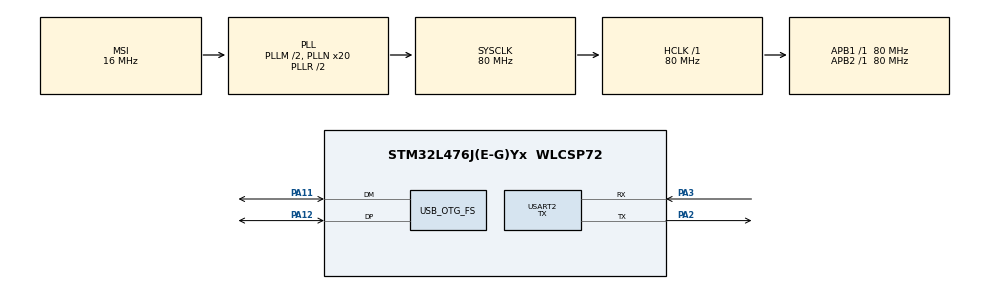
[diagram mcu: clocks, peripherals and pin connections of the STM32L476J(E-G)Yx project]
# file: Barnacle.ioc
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Mcu.Family=STM32L4
Mcu.Name=STM32L476J(E-G)Yx
Mcu.Package=WLCSP72
NVIC.OTG_FS_IRQn=true\:0\:0\:false\:false\:true\:true
NVIC.PriorityGroup=NVIC_PRIORITYGROUP_4
PA11.Mode=Device_Only
PA11.Signal=USB_OTG_FS_DM
PA12.Mode=Device_Only
PA12.Signal=USB_OTG_FS_DP
PA13.Mode=Trace_Asynchronous_SW
PA13.Signal=SYS_JTMS-SWDIO
PA14.Mode=Trace_Asynchronous_SW
PA14.Signal=SYS_JTCK-SWCLK
PA2.Mode=Asynchronous
PA2.Signal=USART2_TX
PA3.Mode=Asynchronous
PA3.Signal=USART2_RX
PB3.Mode=Trace_Asynchronous_SW
PB3.Signal=SYS_JTDO-SWO
ProjectManager.HeapSize=0x1000
ProjectManager.StackSize=0x1000
ProjectManager.TargetToolchain=TrueSTUDIO
RCC.ADCFreq_Value=48000000
RCC.AHBFreq_Value=80000000
RCC.APB1Freq_Value=80000000
RCC.APB1TimFreq_Value=80000000
RCC.APB2Freq_Value=80000000
RCC.APB2TimFreq_Value=80000000
RCC.CortexFreq_Value=80000000
RCC.HCLKFreq_Value=80000000
RCC.HSE_VALUE=8000000
RCC.HSI_VALUE=16000000
RCC.LSE_VALUE=32768
RCC.MSIClockRange=RCC_MSIRANGE_8
RCC.MSI_VALUE=16000000
RCC.PLLM=2
RCC.PLLN=20
RCC.PLLSAI1N=12
RCC.SYSCLKFreq_VALUE=80000000
RCC.SYSCLKSource=RCC_SYSCLKSOURCE_PLLCLK
RCC.USBFreq_Value=48000000
RCC.VCOOutputFreq_Value=160000000
USART2.Mode=MODE_TX
USART2.VirtualMode-Asynchronous=VM_ASYNC
USART2.WordLength=UART_WORDLENGTH_8B
USB_DEVICE.CLASS_NAME_FS=DFU
USB_DEVICE.VirtualModeFS=Dfu_FS
USB_OTG_FS.VirtualMode=Device_Only
USB_OTG_FS.vbus_sensing_enable=DISABLE
VP_RNG_VS_RNG.Mode=RNG_Activate
VP_USB_DEVICE_VS_USB_DEVICE_DFU_FS.Mode=DFU_FS
board=Barnacle

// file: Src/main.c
/**
  ******************************************************************************
  * File Name          : main.c
  * Description        : Main program body
  ******************************************************************************
  *
  * Copyright (c) 2017 STMicroelectronics International N.V.
  * All rights reserved.
  *
  * Redistribution and use in source and binary forms, with or without
  * modification, are permitted, provided that the following conditions are met:
  *
  * 1. Redistribution of source code must retain the above copyright notice,
  *    this list of conditions and the following disclaimer.
  * 2. Redistributions in binary form must reproduce the above copyright notice,
  *    this list of conditions and the following disclaimer in the documentation
  *    and/or other materials provided with the distribution.
  * 3. Neither the name of STMicroelectronics nor the names of other
  *    contributors to this software may be used to endorse or promote products
  *    derived from this software without specific written permission.
  * 4. This software, including modifications and/or derivative works of this
  *    software, must execute solely and exclusively on microcontroller or
  *    microprocessor devices manufactured by or for STMicroelectronics.
  * 5. Redistribution and use of this software other than as permitted under
  *    this license is void and will automatically terminate your rights under
  *    this license.
  *
  * THIS SOFTWARE IS PROVIDED BY STMICROELECTRONICS AND CONTRIBUTORS "AS IS"
  * AND ANY EXPRESS, IMPLIED OR STATUTORY WARRANTIES, INCLUDING, BUT NOT
  * LIMITED TO, THE IMPLIED WARRANTIES OF MERCHANTABILITY, FITNESS FOR A
  * PARTICULAR PURPOSE AND NON-INFRINGEMENT OF THIRD PARTY INTELLECTUAL PROPERTY
  * RIGHTS ARE DISCLAIMED TO THE FULLEST EXTENT PERMITTED BY LAW. IN NO EVENT
  * SHALL STMICROELECTRONICS OR CONTRIBUTORS BE LIABLE FOR ANY DIRECT, INDIRECT,
  * INCIDENTAL, SPECIAL, EXEMPLARY, OR CONSEQUENTIAL DAMAGES (INCLUDING, BUT NOT
  * LIMITED TO, PROCUREMENT OF SUBSTITUTE GOODS OR SERVICES; LOSS OF USE, DATA,
  * OR PROFITS; OR BUSINESS INTERRUPTION) HOWEVER CAUSED AND ON ANY THEORY OF
  * LIABILITY, WHETHER IN CONTRACT, STRICT LIABILITY, OR TORT (INCLUDING
  * NEGLIGENCE OR OTHERWISE) ARISING IN ANY WAY OUT OF THE USE OF THIS SOFTWARE,
  * EVEN IF ADVISED OF THE POSSIBILITY OF SUCH DAMAGE.
  *
  ******************************************************************************
  */
#include "main.h"
#include "stm32l4xx_hal.h"
#include "usb_device.h"

/* USER CODE BEGIN Includes */
#include "usbd_dfu_if.h"
#include <cyrep/RiotTarget.h>
#include <cyrep/RiotStatus.h>
#include <cyrep/RiotSha256.h>
#include <cyrep/RiotEcc.h>
#include <cyrep/RiotDerEnc.h>
#include <cyrep/RiotX509Bldr.h>
#include <cyrep/RiotCrypt.h>
#include <BarnacleTA.h>
#include <Barnacle.h>

/* USER CODE END Includes */

RNG_HandleTypeDef hrng;

UART_HandleTypeDef huart2;

/* USER CODE BEGIN PV */
/* Private variables ---------------------------------------------------------*/
volatile unsigned char DFU_UsrStrDescr_requested = 0;
/* USER CODE END PV */

void SystemClock_Config(void);
void Error_Handler(void);
static void MX_GPIO_Init(void);
static void MX_RNG_Init(void);
#ifdef SERIALDEBUGPRINT
static void MX_USART2_UART_Init(void);
#endif

/* USER CODE BEGIN PFP */
/* Private function prototypes -----------------------------------------------*/
extern USBD_DFU_MediaTypeDef USBD_DFU_fops_FS;
/* USER CODE END PFP */

int ldr_main(void)
{

  /* MCU Configuration----------------------------------------------------------*/

  /* Reset of all peripherals, Initializes the Flash interface and the Systick. */
  HAL_Init();

  /* Configure the system clock */
  SystemClock_Config();

  /* Initialize all configured peripherals */
  MX_GPIO_Init();
  MX_USB_DEVICE_Init();
  MX_RNG_Init();
#ifdef SERIALDEBUGPRINT
  MX_USART2_UART_Init();
#endif

  /* USER CODE BEGIN 2 */
  dbgPrint("\r\n\r\n"
           "================\r\n"
           "Barnacle BootLdr\r\n"
           "================\r\n");

  // If we got here because of a firewall violation tell the world
  if(BarnacleFWViolation())
  {
      dbgPrint("WARNING: Firewall violation detected.\r\n");
  }

  if(!BarnacleWriteLockLoader())
  {
      dbgPrint("PANIC: Write protection for BootLdr failed.\r\n");
      Error_Handler();
  }

  // Provision the device if this is the first launch
  if(!BarnacleInitialProvision())
  {
      dbgPrint("PANIC: Device Provisioning failed.\r\n");
      Error_Handler();
  }

  // Briefly wait to see if DFU connects before we continue
  HAL_Delay(500);
  if(AgentHdr.s.sign.hdr.magic != BARNACLEMAGIC)
  {
      dbgPrint("INFO: Waiting for DFU connection.\r\n");
      Error_Handler();
  }
  else if(DFU_UsrStrDescr_requested)
  {
      dbgPrint("INFO: DFU connected.\r\n");
      Error_Handler();
  }
  else
  {
      dbgPrint("INFO: DFU closed.\r\n");
      MX_USB_DEVICE_DeInit();
  }

  // Now that the door is firmly closed let's take a look at the agent
  if(!BarnacleVerifyAgent())
  {
      // We didn't like that agent for some reason. We will wipe the Agent space
      dbgPrint("INFO: Wiping agent header.\r\n");
      BarnacleErasePages((void*)&AgentHdr, sizeof(AgentHdr));

      // Reboot so we can go straight to DFU mode next time
      dbgPrint("INFO: Rebooting device...\r\n");
      NVIC_SystemReset();
      Error_Handler();
  }

  // Close all the hatches
  if(!BarnacleSecureFWData())
  {
      dbgPrint("PANIC: The firewall did not engage.\r\n");
      Error_Handler();
  }

  // The point of no return: Launch the agent
#ifndef NDEBUG
  dbgPrint("INFO: Launching agent...\r\n");
  HAL_Delay(1);
#endif
  // Release the clock source
  HAL_RCC_DeInit();
  // Release the HAL
  HAL_DeInit();
  // Redirect the vector table to the agent vector table
  SCB->VTOR = ((uint32_t)AgentCode);
//  SCB->VTOR = ((uint32_t)AGENTCODE);
  // Wipe all accessible RAM to make sure we didn't leave anything behind
//  memset((void*)RAMWIPESTART1, 0x00, RAMWIPESIZE1);
//  memset((void*)RAMWIPESTART2, 0x00, RAMWIPESIZE2);
  // Set the stack pointer to where the agent expects it
  __set_MSP(*((uint32_t*)AgentCode));
//  __set_MSP(*((uint32_t*)AGENTCODE));
  // Jump into the abyss
  ((void (*)(void)) *((uint32_t*)(((uint32_t)AgentCode) + sizeof(uint32_t))))();
//  ((void (*)(void)) *((uint32_t*)(((uint32_t)AGENTCODE) + sizeof(uint32_t))))();
  // We will never return from this call!!

  /* USER CODE END 2 */

  /* Infinite loop */
  while (1)
  {

  /* USER CODE BEGIN 3 */
  dbgPrint("ERROR: How the hell did we get here?!?\r\n");
  HAL_Delay(1000);

  }
  /* USER CODE END 3 */

}

/** System Clock Configuration
*/
void SystemClock_Config(void)
{

  RCC_OscInitTypeDef RCC_OscInitStruct;
  RCC_ClkInitTypeDef RCC_ClkInitStruct;
  RCC_PeriphCLKInitTypeDef PeriphClkInit;

    /**Initializes the CPU, AHB and APB busses clocks
    */
  RCC_OscInitStruct.OscillatorType = RCC_OSCILLATORTYPE_MSI;
  RCC_OscInitStruct.MSIState = RCC_MSI_ON;
  RCC_OscInitStruct.MSICalibrationValue = 0;
  RCC_OscInitStruct.MSIClockRange = RCC_MSIRANGE_8;
  RCC_OscInitStruct.PLL.PLLState = RCC_PLL_ON;
  RCC_OscInitStruct.PLL.PLLSource = RCC_PLLSOURCE_MSI;
  RCC_OscInitStruct.PLL.PLLM = 2;
  RCC_OscInitStruct.PLL.PLLN = 20;
  RCC_OscInitStruct.PLL.PLLP = RCC_PLLP_DIV7;
  RCC_OscInitStruct.PLL.PLLQ = RCC_PLLQ_DIV2;
  RCC_OscInitStruct.PLL.PLLR = RCC_PLLR_DIV2;
  if (HAL_RCC_OscConfig(&RCC_OscInitStruct) != HAL_OK)
  {
    Error_Handler();
  }

    /**Initializes the CPU, AHB and APB busses clocks
    */
  RCC_ClkInitStruct.ClockType = RCC_CLOCKTYPE_HCLK|RCC_CLOCKTYPE_SYSCLK
                              |RCC_CLOCKTYPE_PCLK1|RCC_CLOCKTYPE_PCLK2;
  RCC_ClkInitStruct.SYSCLKSource = RCC_SYSCLKSOURCE_PLLCLK;
  RCC_ClkInitStruct.AHBCLKDivider = RCC_SYSCLK_DIV1;
  RCC_ClkInitStruct.APB1CLKDivider = RCC_HCLK_DIV1;
  RCC_ClkInitStruct.APB2CLKDivider = RCC_HCLK_DIV1;

  if (HAL_RCC_ClockConfig(&RCC_ClkInitStruct, FLASH_LATENCY_4) != HAL_OK)
  {
    Error_Handler();
  }

  PeriphClkInit.PeriphClockSelection = RCC_PERIPHCLK_USART2|RCC_PERIPHCLK_USB
                              |RCC_PERIPHCLK_RNG;
  PeriphClkInit.Usart2ClockSelection = RCC_USART2CLKSOURCE_PCLK1;
  PeriphClkInit.UsbClockSelection = RCC_USBCLKSOURCE_PLLSAI1;
  PeriphClkInit.RngClockSelection = RCC_RNGCLKSOURCE_PLLSAI1;
  PeriphClkInit.PLLSAI1.PLLSAI1Source = RCC_PLLSOURCE_MSI;
  PeriphClkInit.PLLSAI1.PLLSAI1M = 2;
  PeriphClkInit.PLLSAI1.PLLSAI1N = 12;
  PeriphClkInit.PLLSAI1.PLLSAI1P = RCC_PLLP_DIV7;
  PeriphClkInit.PLLSAI1.PLLSAI1Q = RCC_PLLQ_DIV2;
  PeriphClkInit.PLLSAI1.PLLSAI1R = RCC_PLLR_DIV2;
  PeriphClkInit.PLLSAI1.PLLSAI1ClockOut = RCC_PLLSAI1_48M2CLK;
  if (HAL_RCCEx_PeriphCLKConfig(&PeriphClkInit) != HAL_OK)
  {
    Error_Handler();
  }

    /**Configure the main internal regulator output voltage
    */
  if (HAL_PWREx_ControlVoltageScaling(PWR_REGULATOR_VOLTAGE_SCALE1) != HAL_OK)
  {
    Error_Handler();
  }

    /**Configure the Systick interrupt time
    */
  HAL_SYSTICK_Config(HAL_RCC_GetHCLKFreq()/1000);

    /**Configure the Systick
    */
  HAL_SYSTICK_CLKSourceConfig(SYSTICK_CLKSOURCE_HCLK);

  /* SysTick_IRQn interrupt configuration */
  HAL_NVIC_SetPriority(SysTick_IRQn, 0, 0);
}

/* RNG init function */
static void MX_RNG_Init(void)
{

  hrng.Instance = RNG;
  if (HAL_RNG_Init(&hrng) != HAL_OK)
  {
    Error_Handler();
  }

}

/* USART2 init function */
#ifdef SERIALDEBUGPRINT
static void MX_USART2_UART_Init(void)
{

  huart2.Instance = USART2;
  huart2.Init.BaudRate = 115200;
  huart2.Init.WordLength = UART_WORDLENGTH_8B;
  huart2.Init.StopBits = UART_STOPBITS_1;
  huart2.Init.Parity = UART_PARITY_NONE;
  huart2.Init.Mode = UART_MODE_TX;
  huart2.Init.HwFlowCtl = UART_HWCONTROL_NONE;
  huart2.Init.OverSampling = UART_OVERSAMPLING_16;
  huart2.Init.OneBitSampling = UART_ONE_BIT_SAMPLE_DISABLE;
  huart2.AdvancedInit.AdvFeatureInit = UART_ADVFEATURE_NO_INIT;
  if (HAL_UART_Init(&huart2) != HAL_OK)
  {
    Error_Handler();
  }

}
#endif
/** Configure pins as
        * Analog
        * Input
        * Output
        * EVENT_OUT
        * EXTI
*/
static void MX_GPIO_Init(void)
{

  /* GPIO Ports Clock Enable */
  __HAL_RCC_GPIOB_CLK_ENABLE();
  __HAL_RCC_GPIOA_CLK_ENABLE();

}

void Error_Handler(void)
{
  while(1)
  {
  }
}

/************************ (C) COPYRIGHT STMicroelectronics *****END OF FILE****/
